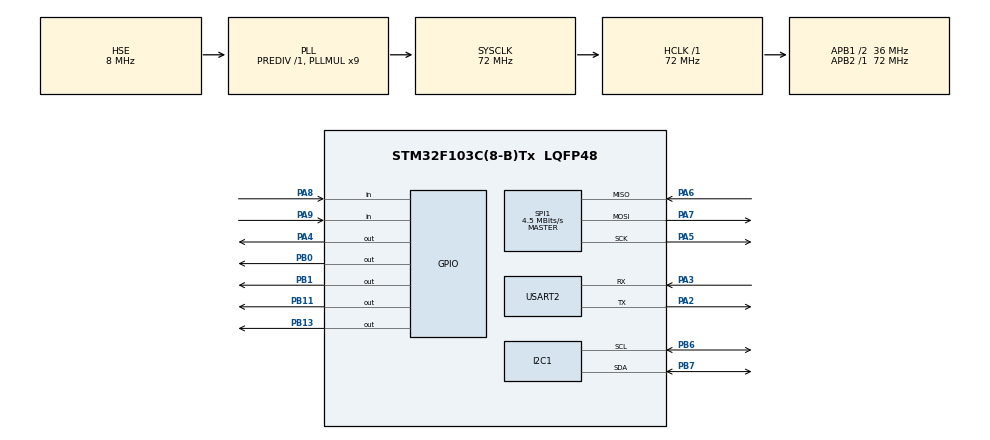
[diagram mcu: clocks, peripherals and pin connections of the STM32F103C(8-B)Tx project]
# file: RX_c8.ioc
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FREERTOS.Tasks01=defaultTask,24,128,StartDefaultTask,Default,NULL,Dynamic,NULL,NULL;myReciveTask,48,128,StartReciveTask,Default,NULL,Dynamic,NULL,NULL;myLoopTask,55,128,StartLoopTask,Default,NULL,Dynamic,NULL,NULL;myTaskBtn,55,128,StartTaskBtn,Default,NULL,Dynamic,NULL,NULL
Mcu.Family=STM32F1
Mcu.Name=STM32F103C(8-B)Tx
Mcu.Package=LQFP48
NVIC.PriorityGroup=NVIC_PRIORITYGROUP_4
NVIC.TIM4_IRQn=true\:15\:0\:false\:false\:true\:false\:false\:true\:true
NVIC.TimeBase=TIM4_IRQn
NVIC.TimeBaseIP=TIM4
PA13.Mode=Serial_Wire
PA13.Signal=SYS_JTMS-SWDIO
PA14.Mode=Serial_Wire
PA14.Signal=SYS_JTCK-SWCLK
PA2.Mode=Asynchronous
PA2.Signal=USART2_TX
PA3.Mode=Asynchronous
PA3.Signal=USART2_RX
PA4.Signal=GPIO_Output
PA5.Mode=Full_Duplex_Master
PA5.Signal=SPI1_SCK
PA6.Mode=Full_Duplex_Master
PA6.Signal=SPI1_MISO
PA7.Mode=Full_Duplex_Master
PA7.Signal=SPI1_MOSI
PA8.GPIO_PuPd=GPIO_PULLDOWN
PA8.Signal=GPIO_Input
PA9.GPIO_PuPd=GPIO_PULLDOWN
PA9.Signal=GPIO_Input
PB0.Signal=GPIO_Output
PB1.GPIO_PuPd=GPIO_PULLDOWN
PB1.Signal=GPIO_Output
PB11.GPIO_PuPd=GPIO_PULLDOWN
PB11.Signal=GPIO_Output
PB13.GPIO_PuPd=GPIO_PULLDOWN
PB13.Signal=GPIO_Output
PB6.Mode=I2C
PB6.Signal=I2C1_SCL
PB7.Mode=I2C
PB7.Signal=I2C1_SDA
PD0-OSC_IN.Mode=HSE-External-Oscillator
PD0-OSC_IN.Signal=RCC_OSC_IN
PD1-OSC_OUT.Mode=HSE-External-Oscillator
PD1-OSC_OUT.Signal=RCC_OSC_OUT
ProjectManager.HeapSize=0x200
ProjectManager.StackSize=0x400
ProjectManager.TargetToolchain=STM32CubeIDE
RCC.AHBFreq_Value=72000000
RCC.APB1CLKDivider=RCC_HCLK_DIV2
RCC.APB1Freq_Value=36000000
RCC.APB1TimFreq_Value=72000000
RCC.APB2Freq_Value=72000000
RCC.APB2TimFreq_Value=72000000
RCC.HCLKFreq_Value=72000000
RCC.PLLMUL=RCC_PLL_MUL9
RCC.PLLSourceVirtual=RCC_PLLSOURCE_HSE
RCC.SYSCLKFreq_VALUE=72000000
RCC.SYSCLKSource=RCC_SYSCLKSOURCE_PLLCLK
RCC.USBFreq_Value=72000000
SPI1.BaudRatePrescaler=SPI_BAUDRATEPRESCALER_16
SPI1.CalculateBaudRate=4.5 MBits/s
SPI1.Direction=SPI_DIRECTION_2LINES
SPI1.Mode=SPI_MODE_MASTER
SPI1.VirtualType=VM_MASTER
USART2.VirtualMode=VM_ASYNC
VP_FREERTOS_VS_CMSIS_V2.Mode=CMSIS_V2
VP_SYS_VS_tim4.Mode=TIM4
board=custom

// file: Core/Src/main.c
/* USER CODE BEGIN Header */
/**
  ******************************************************************************
  * @file           : main.c
  * @brief          : Main program body
  ******************************************************************************
  * @attention
  *
  * Copyright (c) 2024 STMicroelectronics.
  * All rights reserved.
  *
  * This software is licensed under terms that can be found in the LICENSE file
  * in the root directory of this software component.
  * If no LICENSE file comes with this software, it is provided AS-IS.
  *
  ******************************************************************************
  */
/* USER CODE END Header */
#include "main.h"
#include "cmsis_os.h"

/* USER CODE BEGIN Includes */
#include "NRF24L01.h"
#include "LED74HC595.h"
#include "string.h"
#include "EEPROM.h"
/* USER CODE END Includes */

I2C_HandleTypeDef hi2c1;

SPI_HandleTypeDef hspi1;

UART_HandleTypeDef huart2;

/* Definitions for defaultTask */
osThreadId_t defaultTaskHandle;
const osThreadAttr_t defaultTask_attributes = {
  .name = "defaultTask",
  .stack_size = 128 * 4,
  .priority = (osPriority_t) osPriorityNormal,
};
/* Definitions for myReciveTask */
osThreadId_t myReciveTaskHandle;
const osThreadAttr_t myReciveTask_attributes = {
  .name = "myReciveTask",
  .stack_size = 128 * 4,
  .priority = (osPriority_t) osPriorityRealtime,
};
/* Definitions for myLoopTask */
osThreadId_t myLoopTaskHandle;
const osThreadAttr_t myLoopTask_attributes = {
  .name = "myLoopTask",
  .stack_size = 128 * 4,
  .priority = (osPriority_t) osPriorityRealtime7,
};
/* Definitions for myTaskBtn */
osThreadId_t myTaskBtnHandle;
const osThreadAttr_t myTaskBtn_attributes = {
  .name = "myTaskBtn",
  .stack_size = 128 * 4,
  .priority = (osPriority_t) osPriorityRealtime7,
};
/* USER CODE BEGIN PV */
LED74HC595 ledStruct;

int counter = 0;
/* USER CODE END PV */

void SystemClock_Config(void);
static void MX_GPIO_Init(void);
static void MX_SPI1_Init(void);
static void MX_USART2_UART_Init(void);
static void MX_I2C1_Init(void);
void StartDefaultTask(void *argument);
void StartReciveTask(void *argument);
void StartLoopTask(void *argument);
void StartTaskBtn(void *argument);

/* USER CODE BEGIN 0 */
#define DEV_ADDR 0xa0

uint8_t RxAddress[] = {0x00,0xDD,0xCC,0xBB,0xAA};
uint8_t RxData[32];
uint8_t data[50];
/* USER CODE END 0 */

int main(void)
{

  /* MCU Configuration--------------------------------------------------------*/

  /* Reset of all peripherals, Initializes the Flash interface and the Systick. */
  HAL_Init();

  /* Configure the system clock */
  SystemClock_Config();

  /* Initialize all configured peripherals */
  MX_GPIO_Init();
  MX_SPI1_Init();
  MX_USART2_UART_Init();
  MX_I2C1_Init();
  /* USER CODE BEGIN 2 */
  NRF24_Init();

  NRF24_RxMode(RxAddress, 10);

  NRF24_ReadAll(data);

  // SETTING UP OF LIBRARY
  //                 SCLK PIN   SCLK Port   RCLK PIN   RCLK Port   DIO PIN   DIO PORT
  setUp(&ledStruct, GPIO_PIN_11, GPIOB, GPIO_PIN_13, GPIOB,        GPIO_PIN_1, GPIOB);

  counter = (int)EEPROM_Read_NUM (6, 0);

  /* USER CODE END 2 */

  /* Init scheduler */
  osKernelInitialize();

  /* Create the thread(s) */
  /* creation of defaultTask */
  defaultTaskHandle = osThreadNew(StartDefaultTask, NULL, &defaultTask_attributes);

  /* creation of myReciveTask */
  myReciveTaskHandle = osThreadNew(StartReciveTask, NULL, &myReciveTask_attributes);

  /* creation of myLoopTask */
  myLoopTaskHandle = osThreadNew(StartLoopTask, NULL, &myLoopTask_attributes);

  /* creation of myTaskBtn */
  myTaskBtnHandle = osThreadNew(StartTaskBtn, NULL, &myTaskBtn_attributes);

  /* Start scheduler */
  osKernelStart();

  /* We should never get here as control is now taken by the scheduler */

  /* Infinite loop */
  while (1)
  {

  }
}

void SystemClock_Config(void)
{
  RCC_OscInitTypeDef RCC_OscInitStruct = {0};
  RCC_ClkInitTypeDef RCC_ClkInitStruct = {0};

  /** Initializes the RCC Oscillators according to the specified parameters
  * in the RCC_OscInitTypeDef structure.
  */
  RCC_OscInitStruct.OscillatorType = RCC_OSCILLATORTYPE_HSE;
  RCC_OscInitStruct.HSEState = RCC_HSE_ON;
  RCC_OscInitStruct.HSEPredivValue = RCC_HSE_PREDIV_DIV1;
  RCC_OscInitStruct.HSIState = RCC_HSI_ON;
  RCC_OscInitStruct.PLL.PLLState = RCC_PLL_ON;
  RCC_OscInitStruct.PLL.PLLSource = RCC_PLLSOURCE_HSE;
  RCC_OscInitStruct.PLL.PLLMUL = RCC_PLL_MUL9;
  if (HAL_RCC_OscConfig(&RCC_OscInitStruct) != HAL_OK)
  {
    Error_Handler();
  }

  /** Initializes the CPU, AHB and APB buses clocks
  */
  RCC_ClkInitStruct.ClockType = RCC_CLOCKTYPE_HCLK|RCC_CLOCKTYPE_SYSCLK
                              |RCC_CLOCKTYPE_PCLK1|RCC_CLOCKTYPE_PCLK2;
  RCC_ClkInitStruct.SYSCLKSource = RCC_SYSCLKSOURCE_PLLCLK;
  RCC_ClkInitStruct.AHBCLKDivider = RCC_SYSCLK_DIV1;
  RCC_ClkInitStruct.APB1CLKDivider = RCC_HCLK_DIV2;
  RCC_ClkInitStruct.APB2CLKDivider = RCC_HCLK_DIV1;

  if (HAL_RCC_ClockConfig(&RCC_ClkInitStruct, FLASH_LATENCY_2) != HAL_OK)
  {
    Error_Handler();
  }
}

static void MX_I2C1_Init(void)
{

  hi2c1.Instance = I2C1;
  hi2c1.Init.ClockSpeed = 100000;
  hi2c1.Init.DutyCycle = I2C_DUTYCYCLE_2;
  hi2c1.Init.OwnAddress1 = 0;
  hi2c1.Init.AddressingMode = I2C_ADDRESSINGMODE_7BIT;
  hi2c1.Init.DualAddressMode = I2C_DUALADDRESS_DISABLE;
  hi2c1.Init.OwnAddress2 = 0;
  hi2c1.Init.GeneralCallMode = I2C_GENERALCALL_DISABLE;
  hi2c1.Init.NoStretchMode = I2C_NOSTRETCH_DISABLE;
  if (HAL_I2C_Init(&hi2c1) != HAL_OK)
  {
    Error_Handler();
  }

}

static void MX_SPI1_Init(void)
{

  /* SPI1 parameter configuration*/
  hspi1.Instance = SPI1;
  hspi1.Init.Mode = SPI_MODE_MASTER;
  hspi1.Init.Direction = SPI_DIRECTION_2LINES;
  hspi1.Init.DataSize = SPI_DATASIZE_8BIT;
  hspi1.Init.CLKPolarity = SPI_POLARITY_LOW;
  hspi1.Init.CLKPhase = SPI_PHASE_1EDGE;
  hspi1.Init.NSS = SPI_NSS_SOFT;
  hspi1.Init.BaudRatePrescaler = SPI_BAUDRATEPRESCALER_16;
  hspi1.Init.FirstBit = SPI_FIRSTBIT_MSB;
  hspi1.Init.TIMode = SPI_TIMODE_DISABLE;
  hspi1.Init.CRCCalculation = SPI_CRCCALCULATION_DISABLE;
  hspi1.Init.CRCPolynomial = 10;
  if (HAL_SPI_Init(&hspi1) != HAL_OK)
  {
    Error_Handler();
  }

}

static void MX_USART2_UART_Init(void)
{

  huart2.Instance = USART2;
  huart2.Init.BaudRate = 115200;
  huart2.Init.WordLength = UART_WORDLENGTH_8B;
  huart2.Init.StopBits = UART_STOPBITS_1;
  huart2.Init.Parity = UART_PARITY_NONE;
  huart2.Init.Mode = UART_MODE_TX_RX;
  huart2.Init.HwFlowCtl = UART_HWCONTROL_NONE;
  huart2.Init.OverSampling = UART_OVERSAMPLING_16;
  if (HAL_UART_Init(&huart2) != HAL_OK)
  {
    Error_Handler();
  }

}

static void MX_GPIO_Init(void)
{
  GPIO_InitTypeDef GPIO_InitStruct = {0};

  /* GPIO Ports Clock Enable */
  __HAL_RCC_GPIOD_CLK_ENABLE();
  __HAL_RCC_GPIOA_CLK_ENABLE();
  __HAL_RCC_GPIOB_CLK_ENABLE();

  /*Configure GPIO pin Output Level */
  HAL_GPIO_WritePin(GPIOA, GPIO_PIN_4, GPIO_PIN_RESET);

  /*Configure GPIO pin Output Level */
  HAL_GPIO_WritePin(GPIOB, GPIO_PIN_0|GPIO_PIN_1|GPIO_PIN_11|GPIO_PIN_13, GPIO_PIN_RESET);

  /*Configure GPIO pin : PA4 */
  GPIO_InitStruct.Pin = GPIO_PIN_4;
  GPIO_InitStruct.Mode = GPIO_MODE_OUTPUT_PP;
  GPIO_InitStruct.Pull = GPIO_NOPULL;
  GPIO_InitStruct.Speed = GPIO_SPEED_FREQ_LOW;
  HAL_GPIO_Init(GPIOA, &GPIO_InitStruct);

  /*Configure GPIO pin : PB0 */
  GPIO_InitStruct.Pin = GPIO_PIN_0;
  GPIO_InitStruct.Mode = GPIO_MODE_OUTPUT_PP;
  GPIO_InitStruct.Pull = GPIO_NOPULL;
  GPIO_InitStruct.Speed = GPIO_SPEED_FREQ_LOW;
  HAL_GPIO_Init(GPIOB, &GPIO_InitStruct);

  /*Configure GPIO pins : PB1 PB11 PB13 */
  GPIO_InitStruct.Pin = GPIO_PIN_1|GPIO_PIN_11|GPIO_PIN_13;
  GPIO_InitStruct.Mode = GPIO_MODE_OUTPUT_PP;
  GPIO_InitStruct.Pull = GPIO_PULLDOWN;
  GPIO_InitStruct.Speed = GPIO_SPEED_FREQ_LOW;
  HAL_GPIO_Init(GPIOB, &GPIO_InitStruct);

  /*Configure GPIO pins : PA8 PA9 */
  GPIO_InitStruct.Pin = GPIO_PIN_8|GPIO_PIN_9;
  GPIO_InitStruct.Mode = GPIO_MODE_INPUT;
  GPIO_InitStruct.Pull = GPIO_PULLDOWN;
  HAL_GPIO_Init(GPIOA, &GPIO_InitStruct);

}

void StartDefaultTask(void *argument)
{
  for(;;)
  {
    osDelay(1);
  }
}

void StartReciveTask(void *argument)
{
  /* USER CODE BEGIN StartReciveTask */
  /* Infinite loop */
  for(;;)
  {
	  if (isDataAvailable(2) == 1)
	  	  {
	  		 NRF24_Receive(RxData);
	  		 if (RxData[0] == 'A') EEPROM_Write_NUM (6, 0, (float)++counter);

	  	  }
	printInt(counter, false);
    osDelay(10);
  }
  /* USER CODE END StartReciveTask */
}

void StartLoopTask(void *argument)
{
  /* USER CODE BEGIN StartLoopTask */
  /* Infinite loop */
  for(;;)
  {
	  for(int i = 0;i < 1000; i++) loop();
      osDelay(1);
  }
  /* USER CODE END StartLoopTask */
}

void StartTaskBtn(void *argument)
{
  /* USER CODE BEGIN StartTaskBtn */
  /* Infinite loop */
  uint8_t i = 0;
  uint8_t i_Add = 0;
  uint8_t i_Minus = 0;
  uint8_t btn_state_now_Add;
  uint8_t btn_state_now_Minus;
  uint8_t btn_state_them_Add;
  uint8_t btn_state_them_Minus;
  for(;;)
  {
	btn_state_now_Add = HAL_GPIO_ReadPin(GPIOA, GPIO_PIN_8);
	btn_state_now_Minus = HAL_GPIO_ReadPin(GPIOA, GPIO_PIN_9);
	osDelay(20);
	btn_state_them_Add = HAL_GPIO_ReadPin(GPIOA, GPIO_PIN_8);
	btn_state_them_Minus = HAL_GPIO_ReadPin(GPIOA, GPIO_PIN_9);

	if (btn_state_now_Add == btn_state_them_Add && btn_state_now_Add + btn_state_them_Add == 2){
		i_Add++;
				if(i_Add == 20){
					EEPROM_Write_NUM (6, 0, (float)++counter);
					printInt(counter, false);
				}
	}

	else {
			i_Add = 0;
		}

	if (btn_state_now_Minus == btn_state_them_Minus && btn_state_now_Minus + btn_state_them_Minus == 2){
		i_Minus++;
						if(i_Minus == 20 && counter > 0){
							EEPROM_Write_NUM (6, 0, (float)--counter);
							printInt(counter, false);
						}
	}

	else {
			i_Minus = 0;
		}

	if (btn_state_now_Add == btn_state_them_Add && btn_state_now_Minus == btn_state_them_Minus && btn_state_now_Add
			+ btn_state_them_Add + btn_state_them_Minus + btn_state_now_Minus == 4){
		i++;
		if(i == 50){
			EEPROM_Write_NUM (6, 0, 0.0);
			i = 0, counter = 0;
			printInt(counter, false);
		}
	}
	else {
		i = 0;
	}
  }
  /* USER CODE END StartTaskBtn */
}

void HAL_TIM_PeriodElapsedCallback(TIM_HandleTypeDef *htim)
{
  if (htim->Instance == TIM4) {
    HAL_IncTick();
  }
}

void Error_Handler(void)
{
  __disable_irq();
  while (1)
  {
  }
}
